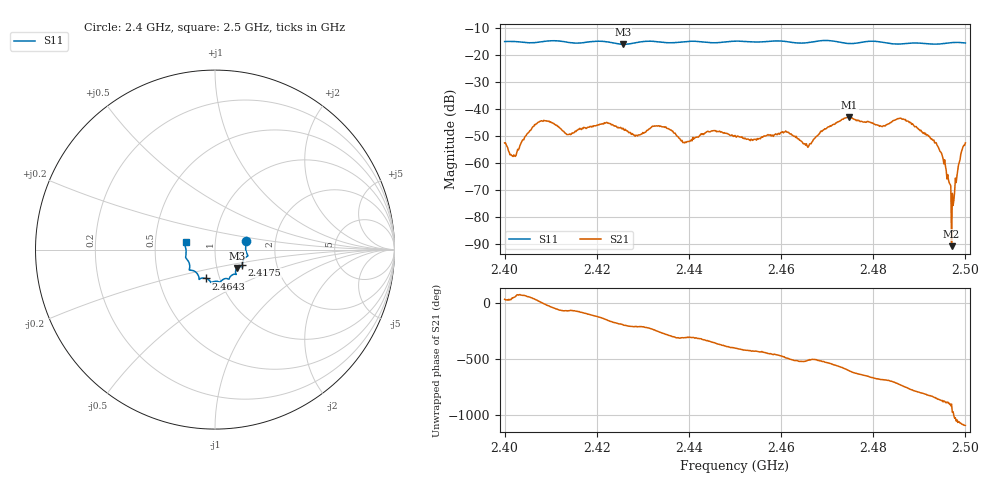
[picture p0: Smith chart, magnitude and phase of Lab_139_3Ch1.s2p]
# Hz S RI R 50
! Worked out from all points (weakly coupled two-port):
!   601 points, 2.4 GHz to 2.5 GHz, reference 50 ohm
!   highest |S21| = -42.98 dB at 2.4748 GHz (marker M1); lowest = -90.9 dB at 2.497 GHz (marker M2)
!   lowest |S11| = -15.9 dB at 2.4257 GHz (marker M3), VSWR 1.38, Z = 62.5 - j13.1 ohm
!   |S11| at or under -10 dB: start of sweep to end of sweep
!   S12 and S22 are empty: the file has one direction only
!   S11 on the Smith chart (normalised r, x): 2.4 GHz: 1.41, +0.14; 2.4175 GHz: 1.34, -0.23; 2.4643 GHz: 0.86, -0.29; 2.5 GHz: 0.72, +0.06
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2.4e9  0.1731 0.0487  0.00193 0.00137  0 0  0 0
2.402167e9  0.1756 0.0398  0.000778 0.00111  0 0  0 0
2.408167e9  0.1781 -0.0223  0.00602 0.000277  0 0  0 0
2.413833e9  0.1674 -0.0456  0.00137 -0.00309  0 0  0 0
2.416667e9  0.153 -0.0742  0.000715 -0.00411  0 0  0 0
2.4175e9  0.152 -0.0837  5.11e-05 -0.00451  0 0  0 0
2.425667e9  0.1227 -0.1025  -0.00436 0.000811  0 0  0 0
2.433333e9  0.1131 -0.1371  -0.00156 0.00465  0 0  0 0
2.439167e9  0.0802 -0.1601  0.00147 0.00196  0 0  0 0
2.45e9  0.0288 -0.1809  0.00253 -0.00203  0 0  0 0
2.461167e9  -0.0266 -0.1777  -0.00235 -0.00293  0 0  0 0
2.464333e9  -0.0498 -0.1608  -0.00234 -0.00103  0 0  0 0
2.466667e9  -0.0759 -0.1595  -0.00187 -0.00154  0 0  0 0
2.474833e9  -0.1048 -0.1277  -0.00322 0.00632  0 0  0 0
2.483333e9  -0.1407 -0.0901  0.0045 0.00289  0 0  0 0
2.4865e9  -0.1526 -0.0591  0.00623 -0.0021  0 0  0 0
2.493167e9  -0.161 -0.012  -0.00117 -0.00239  0 0  0 0
2.495167e9  -0.1642 0.0116  -0.00111 -0.000424  0 0  0 0
2.497e9  -0.1696 0.0271  -2.85e-05 -7.46e-07  0 0  0 0
2.4975e9  -0.1704 0.0297  3.97e-05 0.000197  0 0  0 0
2.498833e9  -0.1692 0.0363  0.00112 0.000236  0 0  0 0
2.5e9  -0.1638 0.0427  0.00233 -0.000382  0 0  0 0
